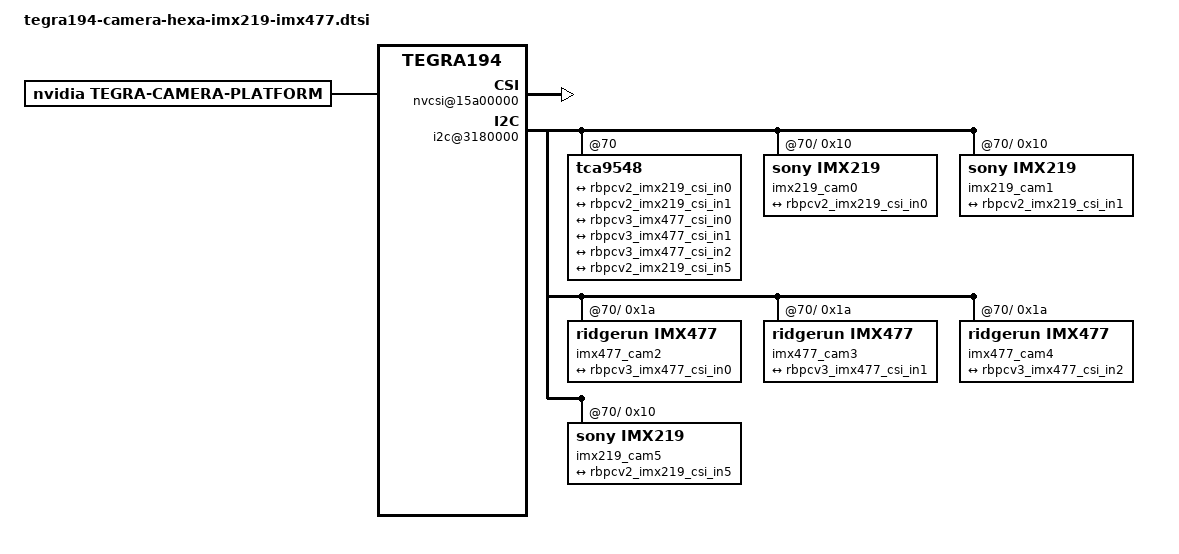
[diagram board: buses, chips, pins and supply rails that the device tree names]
/*
 * Copyright (c) 2015-2019, NVIDIA CORPORATION.  All rights reserved.
 *
 * This program is free software; you can redistribute it and/or modify
 * it under the terms of the GNU General Public License as published by
 * the Free Software Foundation; either version 2 of the License, or
 * (at your option) any later version.
 *
 * This program is distributed in the hope that it will be useful, but WITHOUT
 * ANY WARRANTY; without even the implied warranty of MERCHANTABILITY or
 * FITNESS FOR A PARTICULAR PURPOSE.  See the GNU General Public License for
 * more details.
 *
 * You should have received a copy of the GNU General Public License
 * along with this program.  If not, see <http://www.gnu.org/licenses/>.
 */

#include <dt-bindings/media/camera.h>

/ {
	tegra-capture-vi  {
			num-channels = <6>;
			ports {
				status="okay";
				#address-cells = <1>;
				#size-cells = <0>;
				vi_port0: port@0 {
					status="okay";
					reg = <0>;
					rbpcv2_imx219_vi_in0: endpoint {
						status="okay";
						port-index = <0>;
						bus-width = <2>;
						remote-endpoint = <&rbpcv2_imx219_csi_out0>;
					};
				};
				vi_port1: port@1 {
					status="okay";
					reg = <1>;
					rbpcv2_imx219_vi_in1: endpoint {
						status="okay";
						port-index = <2>;
						bus-width = <2>;
						remote-endpoint = <&rbpcv2_imx219_csi_out1>;
					};
				};
				vi_port2: port@2 {
					status="okay";
					reg = <2>;
					rbpcv3_imx477_vi_in0: endpoint {
						status="okay";
						port-index = <3>;
						bus-width = <2>;
						remote-endpoint = <&rbpcv3_imx477_csi_out0>;
					};
				};
				vi_port3: port@3 {
					status="okay";
					reg = <3>;
					rbpcv3_imx477_vi_in1: endpoint {
						status="okay";
						port-index = <4>;
						bus-width = <2>;
						remote-endpoint = <&rbpcv3_imx477_csi_out1>;
					};
				};
				vi_port4: port@4 {
					status="okay";
					reg = <4>;
					rbpcv3_imx477_vi_in2: endpoint {
						status="okay";
						port-index = <1>;
						bus-width = <2>;
						remote-endpoint = <&rbpcv3_imx477_csi_out2>;
					};
				};
				vi_port5: port@5 {
					status="okay";
					reg = <5>;
					rbpcv2_imx219_vi_in5: endpoint {
						status="okay";
						port-index = <6>;
						bus-width = <2>;
						remote-endpoint = <&rbpcv2_imx219_csi_out5>;
					};
				};				
			};
		};

	host1x@13e00000 {	
		nvcsi@15a00000 {
			num-channels = <6>;
			#address-cells = <1>;
			#size-cells = <0>;
			status="okay";
			csi_chan0: channel@0 {
				reg = <0>;
				status="okay";
				ports {
					#address-cells = <1>;
					#size-cells = <0>;
					status="okay";
					csi_chan0_port0: port@0 {
						reg = <0>;
						status="okay";
						rbpcv2_imx219_csi_in0: endpoint@0 {
							status="okay";
							port-index = <0>;
							bus-width = <2>;
							remote-endpoint = <&rbpcv2_imx219_out0>;
						};
					};
					csi_chan0_port1: port@1 {
						reg = <1>;
						status="okay";
						rbpcv2_imx219_csi_out0: endpoint@1 {
							status="okay";
							remote-endpoint = <&rbpcv2_imx219_vi_in0>;
						};
					};
				};
			};
			csi_chan1: channel@1 {
				reg = <1>;
				status="okay";
				ports {
					#address-cells = <1>;
					#size-cells = <0>;
					status="okay";
					csi_chan1_port0: port@0 {
						status="okay";
						reg = <0>;
						rbpcv2_imx219_csi_in1: endpoint@2 {
							status="okay";
							port-index = <2>;
							bus-width = <2>;
							remote-endpoint = <&rbpcv2_imx219_out1>;
						};
					};
					csi_chan1_port1: port@1 {
						reg = <1>;
						status="okay";
						rbpcv2_imx219_csi_out1: endpoint@3 {
							status="okay";
							remote-endpoint = <&rbpcv2_imx219_vi_in1>;
						};
					};
				};
			};
			csi_chan2: channel@2 {
				reg = <2>;
				status="okay";
				ports {
					#address-cells = <1>;
					#size-cells = <0>;
					status="okay";
					csi_chan2_port0: port@0 {
						status="okay";
						reg = <0>;
						rbpcv3_imx477_csi_in0: endpoint@4 {
							status="okay";
							port-index = <3>;
							bus-width = <2>;
							remote-endpoint = <&rbpcv3_imx477_out0>;
						};
					};
					csi_chan2_port1: port@1 {
						status="okay";
						reg = <1>;
						rbpcv3_imx477_csi_out0: endpoint@5 {
							status="okay";
							remote-endpoint = <&rbpcv3_imx477_vi_in0>;
						};
					};
				};
			};
			csi_chan3: channel@3 {
				reg = <3>;
				status="okay";
				ports {
					#address-cells = <1>;
					#size-cells = <0>;
					status="okay";
					csi_chan3_port0: port@0 {
						status="okay";
						reg = <0>;
						rbpcv3_imx477_csi_in1: endpoint@6 {
							status="okay";
							port-index = <4>;
							bus-width = <2>;
							remote-endpoint = <&rbpcv3_imx477_out1>;
						};
					};
					csi_chan3_port1: port@1 {
						status="okay";
						reg = <1>;
						rbpcv3_imx477_csi_out1: endpoint@7 {
							status="okay";
							remote-endpoint = <&rbpcv3_imx477_vi_in1>;
						};
					};
				};
			};
			csi_chan4: channel@4 {
				reg = <4>;
				status="okay";
				ports {
					#address-cells = <1>;
					#size-cells = <0>;
					status="okay";
					csi_chan4_port0: port@0 {
						status="okay";
						reg = <0>;
						rbpcv3_imx477_csi_in2: endpoint@8 {
							status="okay";
							port-index = <1>;
							bus-width = <2>;
							remote-endpoint = <&rbpcv3_imx477_out2>;
						};
					};
					csi_chan4_port1: port@1 {
						status="okay";
						reg = <1>;
						rbpcv3_imx477_csi_out2: endpoint@9 {
							status="okay";
							remote-endpoint = <&rbpcv3_imx477_vi_in2>;
						};
					};
				};
			};
			csi_chan5: channel@5 {
				reg = <5>;
				status="okay";
				ports {
					#address-cells = <1>;
					#size-cells = <0>;
					status="okay";
					csi_chan5_port0: port@0 {
						status="okay";
						reg = <0>;
						rbpcv2_imx219_csi_in5: endpoint@10 {
							status="okay";
							port-index = <6>;
							bus-width = <2>;
							remote-endpoint = <&rbpcv2_imx219_out5>;
						};
					};
					csi_chan5_port1: port@1 {
						status="okay";
						reg = <1>;
						rbpcv2_imx219_csi_out5: endpoint@11 {
							status="okay";
							remote-endpoint = <&rbpcv2_imx219_vi_in5>;
						};
					};
				};
			};
		};	
	};

	i2c@3180000{ 		
		tca9548@70 {			
			i2c_0: i2c@0 {				
				imx219_cam0: rbpcv2_imx219_a@10 {
					status="okay";
					compatible = "sony,imx219";
					/* I2C device address */ 
					reg = <0x10>;

					/* V4L2 device node location */
					devnode = "video0";

					/* Physical dimensions of sensor */
					physical_w = "3.680";
					physical_h = "2.760";

					sensor_model = "imx219";

					use_sensor_mode_id = "true";

					/**
					* ==== Modes ====
					* A modeX node is required to support v4l2 driver
					* implementation with NVIDIA camera software stack
					*
					* == Signal properties ==
					*
					* phy_mode = "";
					* PHY mode used by the MIPI lanes for this device
					*
					* tegra_sinterface = "";
					* CSI Serial interface connected to tegra
					* Incase of virtual HW devices, use virtual
					* For SW emulated devices, use host
					*
					* pix_clk_hz = "";
					* Sensor pixel clock used for calculations like exposure and framerate
					*
					* readout_orientation = "0";
					* Based on camera module orientation.
					* Only change readout_orientation if you specifically
					* Program a different readout order for this mode
					*
					* == Image format Properties ==
					*
					* active_w = "";
					* Pixel active region width
					*
					* active_h = "";
					* Pixel active region height
					*
					* pixel_t = "";
					* The sensor readout pixel pattern
					*
					* line_length = "";
					* Pixel line length (width) for sensor mode.
					*
					* == Source Control Settings ==
					*
					* Gain factor used to convert fixed point integer to float
					* Gain range [min_gain/gain_factor, max_gain/gain_factor]
					* Gain step [step_gain/gain_factor is the smallest step that can be configured]
					* Default gain [Default gain to be initialized for the control.
					*     use min_gain_val as default for optimal results]
					* Framerate factor used to convert fixed point integer to float
					* Framerate range [min_framerate/framerate_factor, max_framerate/framerate_factor]
					* Framerate step [step_framerate/framerate_factor is the smallest step that can be configured]
					* Default Framerate [Default framerate to be initialized for the control.
					*     use max_framerate to get required performance]
					* Exposure factor used to convert fixed point integer to float
					* For convenience use 1 sec = 1000000us as conversion factor
					* Exposure range [min_exp_time/exposure_factor, max_exp_time/exposure_factor]
					* Exposure step [step_exp_time/exposure_factor is the smallest step that can be configured]
					* Default Exposure Time [Default exposure to be initialized for the control.
					*     Set default exposure based on the default_framerate for optimal exposure settings]
					*
					* gain_factor = ""; (integer factor used for floating to fixed point conversion)
					* min_gain_val = ""; (ceil to integer)
					* max_gain_val = ""; (ceil to integer)
					* step_gain_val = ""; (ceil to integer)
					* default_gain = ""; (ceil to integer)
					* Gain limits for mode
					*
					* exposure_factor = ""; (integer factor used for floating to fixed point conversion)
					* min_exp_time = ""; (ceil to integer)
					* max_exp_time = ""; (ceil to integer)
					* step_exp_time = ""; (ceil to integer)
					* default_exp_time = ""; (ceil to integer)
					* Exposure Time limits for mode (sec)
					*
					* framerate_factor = ""; (integer factor used for floating to fixed point conversion)
					* min_framerate = ""; (ceil to integer)
					* max_framerate = ""; (ceil to integer)
					* step_framerate = ""; (ceil to integer)
					* default_framerate = ""; (ceil to integer)
					* Framerate limits for mode (fps)
					*
					* embedded_metadata_height = "";
					* Sensor embedded metadata height in units of rows.
					* If sensor does not support embedded metadata value should be 0.
					*/
					mode0 { /* IMX219_MODE_3264x2464_21FPS */
						mclk_khz = "24000";
						num_lanes = "2";
						tegra_sinterface = "serial_a";
						phy_mode = "DPHY";
						discontinuous_clk = "yes";
						dpcm_enable = "false";
						cil_settletime = "0";

						active_w = "3280";
						active_h = "2464";
						pixel_t = "bayer_rggb";
						csi_pixel_bit_depth = "10";
						readout_orientation = "90";
						line_length = "3448";
						inherent_gain = "1";
						mclk_multiplier = "9.33";
						pix_clk_hz = "300000000";

						gain_factor = "16";
						framerate_factor = "1000000";
						exposure_factor = "1000000";
						min_gain_val = "16"; /* 1.00x */
						max_gain_val = "170"; /* 10.66x */
						step_gain_val = "1";
						default_gain = "16"; /* 1.00x */
						min_hdr_ratio = "1";
						max_hdr_ratio = "1";
						min_framerate = "2000000"; /* 2.0 fps */
						max_framerate = "21000000"; /* 21.0 fps */
						step_framerate = "1";
						default_framerate = "21000000"; /* 21.0 fps */
						min_exp_time = "13"; /* us */
						max_exp_time = "683709"; /* us */
						step_exp_time = "1";
						default_exp_time = "2495"; /* us */

						embedded_metadata_height = "2";
					};
					mode1 { /* IMX219_MODE_3264x1848_28FPS */
						mclk_khz = "24000";
						num_lanes = "2";
						tegra_sinterface = "serial_a";
						phy_mode = "DPHY";
						discontinuous_clk = "yes";
						dpcm_enable = "false";
						cil_settletime = "0";

						active_w = "3280";
						active_h = "1848";
						pixel_t = "bayer_rggb";
						csi_pixel_bit_depth = "10";
						readout_orientation = "90";
						line_length = "3448";
						inherent_gain = "1";
						mclk_multiplier = "9.33";
						pix_clk_hz = "300000000";

						gain_factor = "16";
						framerate_factor = "1000000";
						exposure_factor = "1000000";
						min_gain_val = "16"; /* 1.00x */
						max_gain_val = "170"; /* 10.66x */
						step_gain_val = "1";
						default_gain = "16"; /* 1.00x */
						min_hdr_ratio = "1";
						max_hdr_ratio = "1";
						min_framerate = "2000000"; /* 2.0 fps */
						max_framerate = "28000000"; /* 28.0 fps */
						step_framerate = "1";
						default_framerate = "28000000"; /* 28.0 fps */
						min_exp_time = "13"; /* us */
						max_exp_time = "683709"; /* us */
						step_exp_time = "1";
						default_exp_time = "2495"; /* us */

						embedded_metadata_height = "2";
					};
					mode2 { /* IMX219_MODE_1920x1080_30FPS */
						mclk_khz = "24000";
						num_lanes = "2";
						tegra_sinterface = "serial_a";
						phy_mode = "DPHY";
						discontinuous_clk = "yes";
						dpcm_enable = "false";
						cil_settletime = "0";

						active_w = "1920";
						active_h = "1080";
						pixel_t = "bayer_rggb";
						csi_pixel_bit_depth = "10";
						readout_orientation = "90";
						line_length = "3448";
						inherent_gain = "1";
						mclk_multiplier = "9.33";
						pix_clk_hz = "300000000";

						gain_factor = "16";
						framerate_factor = "1000000";
						exposure_factor = "1000000";
						min_gain_val = "16"; /* 1.00x */
						max_gain_val = "170"; /* 10.66x */
						step_gain_val = "1";
						default_gain = "16"; /* 1.00x */
						min_hdr_ratio = "1";
						max_hdr_ratio = "1";
						min_framerate = "2000000"; /* 2.0 fps */
						max_framerate = "30000000"; /* 30.0 fps */
						step_framerate = "1";
						default_framerate = "30000000"; /* 30.0 fps */
						min_exp_time = "13"; /* us */
						max_exp_time = "683709"; /* us */
						step_exp_time = "1";
						default_exp_time = "2495"; /* us */

						embedded_metadata_height = "2";
					};
					mode3 { /* IMX219_MODE_1280x720_60FPS */
						mclk_khz = "24000";
						num_lanes = "2";
						tegra_sinterface = "serial_a";
						phy_mode = "DPHY";
						discontinuous_clk = "yes";
						dpcm_enable = "false";
						cil_settletime = "0";

						active_w = "1280";
						active_h = "720";
						pixel_t = "bayer_rggb";
						csi_pixel_bit_depth = "10";
						readout_orientation = "90";
						line_length = "3448";
						inherent_gain = "1";
						mclk_multiplier = "9.33";
						pix_clk_hz = "300000000";

						gain_factor = "16";
						framerate_factor = "1000000";
						exposure_factor = "1000000";
						min_gain_val = "16"; /* 1.00x */
						max_gain_val = "170"; /* 10.66x */
						step_gain_val = "1";
						default_gain = "16"; /* 1.00x */
						min_hdr_ratio = "1";
						max_hdr_ratio = "1";
						min_framerate = "2000000"; /* 2.0 fps */
						max_framerate = "60000000"; /* 60.0 fps */
						step_framerate = "1";
						default_framerate = "60000000"; /* 60.0 fps */
						min_exp_time = "13"; /* us */
						max_exp_time = "683709"; /* us */
						step_exp_time = "1";
						default_exp_time = "2495"; /* us */

						embedded_metadata_height = "2";
					};
					mode4 { /* IMX219_MODE_1280x720_120FPS */
						mclk_khz = "24000";
						num_lanes = "2";
						tegra_sinterface = "serial_a";
						phy_mode = "DPHY";
						discontinuous_clk = "yes";
						dpcm_enable = "false";
						cil_settletime = "0";

						active_w = "1280";
						active_h = "720";
						pixel_t = "bayer_rggb";
						csi_pixel_bit_depth = "10";
						readout_orientation = "90";
						line_length = "3448";
						inherent_gain = "1";
						mclk_multiplier = "9.33";
						pix_clk_hz = "300000000";

						gain_factor = "16";
						framerate_factor = "1000000";
						exposure_factor = "1000000";
						min_gain_val = "16"; /* 1.00x */
						max_gain_val = "170"; /* 10.66x */
						step_gain_val = "1";
						default_gain = "16"; /* 1.00x */
						min_hdr_ratio = "1";
						max_hdr_ratio = "1";
						min_framerate = "2000000"; /* 2.0 fps */
						max_framerate = "120000000"; /* 120.0 fps */
						step_framerate = "1";
						default_framerate = "120000000"; /* 120.0 fps */
						min_exp_time = "13"; /* us */
						max_exp_time = "683709"; /* us */
						step_exp_time = "1";
						default_exp_time = "2495"; /* us */

						embedded_metadata_height = "2";
					};

					ports {
						#address-cells = <1>;
						#size-cells = <0>;
						status="okay";

						port@0 {
							reg = <0>;
							status="okay";
							rbpcv2_imx219_out0: endpoint {
								status="okay";
								port-index = <0>;
								bus-width = <2>;
								remote-endpoint = <&rbpcv2_imx219_csi_in0>;
							};
						};
					};
				};
			};
			i2c_1: i2c@1 {				
				imx219_cam1: rbpcv2_imx219_c@10 {
					status="okay";
					compatible = "sony,imx219";
					/* I2C device address */
					reg = <0x10>;

					/* V4L2 device node location */
					devnode = "video1";

					/* Physical dimensions of sensor */
					physical_w = "3.680";
					physical_h = "2.760";

					sensor_model = "imx219";

					use_sensor_mode_id = "true";


					mode0 { /* IMX219_MODE_3264x2464_21FPS */
						mclk_khz = "24000";
						num_lanes = "2";
						tegra_sinterface = "serial_c";
						phy_mode = "DPHY";
						discontinuous_clk = "yes";
						dpcm_enable = "false";
						cil_settletime = "0";

						active_w = "3264";
						active_h = "2464";
						pixel_t = "bayer_rggb";
						csi_pixel_bit_depth = "10";
						readout_orientation = "90";
						line_length = "3448";
						inherent_gain = "1";
						mclk_multiplier = "9.33";
						pix_clk_hz = "182400000";

						gain_factor = "16";
						framerate_factor = "1000000";
						exposure_factor = "1000000";
						min_gain_val = "16"; /* 1.00x */
						max_gain_val = "170"; /* 10.66x */
						step_gain_val = "1";
						default_gain = "16"; /* 1.00x */
						min_hdr_ratio = "1";
						max_hdr_ratio = "1";
						min_framerate = "2000000"; /* 2.0 fps */
						max_framerate = "21000000"; /* 21.0 fps */
						step_framerate = "1";
						default_framerate = "21000000"; /* 21.0 fps */
						min_exp_time = "13"; /* us */
						max_exp_time = "683709"; /* us */
						step_exp_time = "1";
						default_exp_time = "2495"; /* us */

						embedded_metadata_height = "2";
					};
					mode1 { /* IMX219_MODE_3264x1848_28FPS */
						mclk_khz = "24000";
						num_lanes = "2";
						tegra_sinterface = "serial_c";
						phy_mode = "DPHY";
						discontinuous_clk = "yes";
						dpcm_enable = "false";
						cil_settletime = "0";

						active_w = "3264";
						active_h = "1848";
						pixel_t = "bayer_rggb";
						csi_pixel_bit_depth = "10";
						readout_orientation = "90";
						line_length = "3448";
						inherent_gain = "1";
						mclk_multiplier = "9.33";
						pix_clk_hz = "182400000";

						gain_factor = "16";
						framerate_factor = "1000000";
						exposure_factor = "1000000";
						min_gain_val = "16"; /* 1.00x */
						max_gain_val = "170"; /* 10.66x */
						step_gain_val = "1";
						default_gain = "16"; /* 1.00x */
						min_hdr_ratio = "1";
						max_hdr_ratio = "1";
						min_framerate = "2000000"; /* 2.0 fps */
						max_framerate = "28000000"; /* 28.0 fps */
						step_framerate = "1";
						default_framerate = "28000000"; /* 28.0 fps */
						min_exp_time = "13"; /* us */
						max_exp_time = "683709"; /* us */
						step_exp_time = "1";
						default_exp_time = "2495"; /* us */

						embedded_metadata_height = "2";
					};
					mode2 { /* IMX219_MODE_1920x1080_30FPS */
						mclk_khz = "24000";
						num_lanes = "2";
						tegra_sinterface = "serial_c";
						phy_mode = "DPHY";
						discontinuous_clk = "yes";
						dpcm_enable = "false";
						cil_settletime = "0";

						active_w = "1920";
						active_h = "1080";
						pixel_t = "bayer_rggb";
						csi_pixel_bit_depth = "10";
						readout_orientation = "90";
						line_length = "3448";
						inherent_gain = "1";
						mclk_multiplier = "9.33";
						pix_clk_hz = "182400000";

						gain_factor = "16";
						framerate_factor = "1000000";
						exposure_factor = "1000000";
						min_gain_val = "16"; /* 1.00x */
						max_gain_val = "170"; /* 10.66x */
						step_gain_val = "1";
						default_gain = "16"; /* 1.00x */
						min_hdr_ratio = "1";
						max_hdr_ratio = "1";
						min_framerate = "2000000"; /* 2.0 fps */
						max_framerate = "30000000"; /* 30.0 fps */
						step_framerate = "1";
						default_framerate = "30000000"; /* 30.0 fps */
						min_exp_time = "13"; /* us */
						max_exp_time = "683709"; /* us */
						step_exp_time = "1";
						default_exp_time = "2495"; /* us */

						embedded_metadata_height = "2";
					};
					mode3 { /* IMX219_MODE_1280x720_60FPS */
						mclk_khz = "24000";
						num_lanes = "2";
						tegra_sinterface = "serial_c";
						phy_mode = "DPHY";
						discontinuous_clk = "yes";
						dpcm_enable = "false";
						cil_settletime = "0";

						active_w = "1280";
						active_h = "720";
						pixel_t = "bayer_rggb";						
						csi_pixel_bit_depth = "10";
						readout_orientation = "90";
						line_length = "3448";
						inherent_gain = "1";
						mclk_multiplier = "9.33";
						pix_clk_hz = "182400000";

						gain_factor = "16";
						framerate_factor = "1000000";
						exposure_factor = "1000000";
						min_gain_val = "16"; /* 1.00x */
						max_gain_val = "170"; /* 10.66x */
						step_gain_val = "1";
						default_gain = "16"; /* 1.00x */
						min_hdr_ratio = "1";
						max_hdr_ratio = "1";
						min_framerate = "2000000"; /* 2.0 fps */
						max_framerate = "60000000"; /* 60.0 fps */
						step_framerate = "1";
						default_framerate = "60000000"; /* 60.0 fps */
						min_exp_time = "13"; /* us */
						max_exp_time = "683709"; /* us */
						step_exp_time = "1";
						default_exp_time = "2495"; /* us */

						embedded_metadata_height = "2";
					};
					mode4 { /* IMX219_MODE_1280x720_120FPS */
						mclk_khz = "24000";
						num_lanes = "2";
						tegra_sinterface = "serial_c";
						phy_mode = "DPHY";
						discontinuous_clk = "yes";
						dpcm_enable = "false";
						cil_settletime = "0";

						active_w = "1280";
						active_h = "720";
						pixel_t = "bayer_rggb";
						csi_pixel_bit_depth = "10";
						readout_orientation = "90";
						line_length = "3448";
						inherent_gain = "1";
						mclk_multiplier = "9.33";
						pix_clk_hz = "169600000";

						gain_factor = "16";
						framerate_factor = "1000000";
						exposure_factor = "1000000";
						min_gain_val = "16"; /* 1.00x */
						max_gain_val = "170"; /* 10.66x */
						step_gain_val = "1";
						default_gain = "16"; /* 1.00x */
						min_hdr_ratio = "1";
						max_hdr_ratio = "1";
						min_framerate = "2000000"; /* 2.0 fps */
						max_framerate = "120000000"; /* 120.0 fps */
						step_framerate = "1";
						default_framerate = "120000000"; /* 120.0 fps */
						min_exp_time = "13"; /* us */
						max_exp_time = "683709"; /* us */
						step_exp_time = "1";
						default_exp_time = "2495"; /* us */

						embedded_metadata_height = "2";
					};

					ports {
						#address-cells = <1>;
						#size-cells = <0>;
						status="okay";

						port@0 {
							reg = <0>;
							status="okay";
							rbpcv2_imx219_out1: endpoint {
								status="okay";
								port-index = <2>;
								bus-width = <2>;
								remote-endpoint = <&rbpcv2_imx219_csi_in1>;
							};
						};
					};
				};
			};
			i2c_2: i2c@2 {				
				imx477_cam2: rbpcv3_imx477_d@1a {
					status="okay";
					compatible = "ridgerun,imx477";
					/* I2C device address */
					reg = <0x1a>;

					/* V4L2 device node location */
					devnode = "video2";

					/* Physical dimensions of sensor */
					physical_w = "7.564";
					physical_h = "5.476";

					sensor_model = "imx477";

					use_sensor_mode_id = "true";

					mode0 { /* IMX477_MODE_3840X2160 */
						mclk_khz = "24000";
						num_lanes = "2";
						tegra_sinterface = "serial_d";
						phy_mode = "DPHY";
						discontinuous_clk = "no";
						dpcm_enable = "false";
						cil_settletime = "0";

						active_w = "3840";
						active_h = "2160";
						mode_type = "bayer";
						pixel_phase = "rggb";
						csi_pixel_bit_depth = "10";
						readout_orientation = "90";
						line_length = "9024";
						inherent_gain = "1";
						mclk_multiplier = "80";
						pix_clk_hz = "300000000";

						gain_factor = "16";
						framerate_factor = "1000000";
						exposure_factor = "1000000";
						min_gain_val = "16"; /* 1.00x */
						max_gain_val = "356"; /* 22x */
						step_gain_val = "1";
						default_gain = "16"; /* 1.00x */
						min_hdr_ratio = "1";
						max_hdr_ratio = "1";
						min_framerate = "2000000"; /* 2.0 fps */
						max_framerate = "30000000"; /* 30.0 fps */
						step_framerate = "1";
						default_framerate = "30000000"; /* 30.0 fps */
						min_exp_time = "13"; /* us */
						max_exp_time = "683709"; /* us */
						step_exp_time = "1";
						default_exp_time = "2495"; /* us */

						embedded_metadata_height = "2";
					};
					mode1 { /* IMX477_MODE_1920X1080 */
						mclk_khz = "24000";
						num_lanes = "2";
						tegra_sinterface = "serial_d";
						phy_mode = "DPHY";
						discontinuous_clk = "no";
						dpcm_enable = "false";
						cil_settletime = "0";

						active_w = "1920";
						active_h = "1080";
						mode_type = "bayer";
						pixel_phase = "rggb";
						csi_pixel_bit_depth = "10";
						readout_orientation = "90";
						line_length = "9024";
						inherent_gain = "1";
						mclk_multiplier = "80";
						pix_clk_hz = "300000000";

						gain_factor = "16";
						framerate_factor = "1000000";
						exposure_factor = "1000000";
						min_gain_val = "16"; /* 1.00x */
						max_gain_val = "356"; /* 22x */
						step_gain_val = "1";
						default_gain = "16"; /* 1.00x */
						min_hdr_ratio = "1";
						max_hdr_ratio = "1";
						min_framerate = "2000000"; /* 2.0 fps */
						max_framerate = "60000000"; /* 60.0 fps */
						step_framerate = "1";
						default_framerate = "60000000"; /* 60.0 fps */
						min_exp_time = "13"; /* us */
						max_exp_time = "683709"; /* us */
						step_exp_time = "1";
						default_exp_time = "2495"; /* us */

						embedded_metadata_height = "2";
					};

					ports {
						status="okay";
						#address-cells = <1>;
						#size-cells = <0>;
						port@0 {
							status="okay";
							reg = <0>;
							rbpcv3_imx477_out0: endpoint {
								status="okay";
								port-index = <3>;
								bus-width = <2>;
								remote-endpoint = <&rbpcv3_imx477_csi_in0>;
							};
						};
					};
				};
			};
			i2c_3: i2c@3 {				
				imx477_cam3: rbpcv3_imx477_e@1a {
					status="okay";
					compatible = "ridgerun,imx477";
					/* I2C device address */
					reg = <0x1a>;

					/* V4L2 device node location */
					devnode = "video3";

					/* Physical dimensions of sensor */
					physical_w = "7.564";
					physical_h = "5.476";

					sensor_model = "imx477";

					use_sensor_mode_id = "true";

					mode0 { /* IMX477_MODE_3840X2160 */
						mclk_khz = "24000";
						num_lanes = "2";
						tegra_sinterface = "serial_e";
						phy_mode = "DPHY";
						discontinuous_clk = "no";
						dpcm_enable = "false";
						cil_settletime = "0";

						active_w = "3840";
						active_h = "2160";
						mode_type = "bayer";
						pixel_phase = "rggb";
						csi_pixel_bit_depth = "10";
						readout_orientation = "90";
						line_length = "9024";
						inherent_gain = "1";
						mclk_multiplier = "80";
						pix_clk_hz = "300000000";

						gain_factor = "16";
						framerate_factor = "1000000";
						exposure_factor = "1000000";
						min_gain_val = "16"; /* 1.00x */
						max_gain_val = "356"; /* 22x */
						step_gain_val = "1";
						default_gain = "16"; /* 1.00x */
						min_hdr_ratio = "1";
						max_hdr_ratio = "1";
						min_framerate = "2000000"; /* 2.0 fps */
						max_framerate = "30000000"; /* 30.0 fps */
						step_framerate = "1";
						default_framerate = "30000000"; /* 30.0 fps */
						min_exp_time = "13"; /* us */
						max_exp_time = "683709"; /* us */
						step_exp_time = "1";
						default_exp_time = "2495"; /* us */

						embedded_metadata_height = "2";
					};
					mode1 { /* IMX477_MODE_1920X1080 */
						mclk_khz = "24000";
						num_lanes = "2";
						tegra_sinterface = "serial_e";
						phy_mode = "DPHY";
						discontinuous_clk = "no";
						dpcm_enable = "false";
						cil_settletime = "0";

						active_w = "1920";
						active_h = "1080";
						mode_type = "bayer";
						pixel_phase = "rggb";
						csi_pixel_bit_depth = "10";
						readout_orientation = "90";
						line_length = "9024";
						inherent_gain = "1";
						mclk_multiplier = "80";
						pix_clk_hz = "300000000";

						gain_factor = "16";
						framerate_factor = "1000000";
						exposure_factor = "1000000";
						min_gain_val = "16"; /* 1.00x */
						max_gain_val = "356"; /* 22x */
						step_gain_val = "1";
						default_gain = "16"; /* 1.00x */
						min_hdr_ratio = "1";
						max_hdr_ratio = "1";
						min_framerate = "2000000"; /* 2.0 fps */
						max_framerate = "60000000"; /* 60.0 fps */
						step_framerate = "1";
						default_framerate = "60000000"; /* 60.0 fps */
						min_exp_time = "13"; /* us */
						max_exp_time = "683709"; /* us */
						step_exp_time = "1";
						default_exp_time = "2495"; /* us */

						embedded_metadata_height = "2";
					};

					ports {
						status="okay";
						#address-cells = <1>;
						#size-cells = <0>;
						port@0 {
							status="okay";
							reg = <0>;
							rbpcv3_imx477_out1: endpoint {
								status="okay";
								port-index = <4>;
								bus-width = <2>;
								remote-endpoint = <&rbpcv3_imx477_csi_in1>;
							};
						};
					};
				};
			};
			i2c_4: i2c@4 {				
				imx477_cam4: rbpcv3_imx477_b@1a {
					status="okay";
					compatible = "ridgerun,imx477";
					/* I2C device address */
					reg = <0x1a>;

					/* V4L2 device node location */
					devnode = "video4";

					/* Physical dimensions of sensor */
					physical_w = "7.564";
					physical_h = "5.476";

					sensor_model = "imx477";

					use_sensor_mode_id = "true";

					mode0 { /* IMX477_MODE_3840X2160 */
						mclk_khz = "24000";
						num_lanes = "2";
						tegra_sinterface = "serial_b";
						phy_mode = "DPHY";
						discontinuous_clk = "no";
						dpcm_enable = "false";
						cil_settletime = "0";

						active_w = "3840";
						active_h = "2160";
						mode_type = "bayer";
						pixel_phase = "rggb";
						csi_pixel_bit_depth = "10";
						readout_orientation = "90";
						line_length = "9024";
						inherent_gain = "1";
						mclk_multiplier = "80";
						pix_clk_hz = "300000000";

						gain_factor = "16";
						framerate_factor = "1000000";
						exposure_factor = "1000000";
						min_gain_val = "16"; /* 1.00x */
						max_gain_val = "356"; /* 22x */
						step_gain_val = "1";
						default_gain = "16"; /* 1.00x */
						min_hdr_ratio = "1";
						max_hdr_ratio = "1";
						min_framerate = "2000000"; /* 2.0 fps */
						max_framerate = "30000000"; /* 30.0 fps */
						step_framerate = "1";
						default_framerate = "30000000"; /* 30.0 fps */
						min_exp_time = "13"; /* us */
						max_exp_time = "683709"; /* us */
						step_exp_time = "1";
						default_exp_time = "2495"; /* us */

						embedded_metadata_height = "2";
					};
					mode1 { /* IMX477_MODE_1920X1080 */
						mclk_khz = "24000";
						num_lanes = "2";
						tegra_sinterface = "serial_b";
						phy_mode = "DPHY";
						discontinuous_clk = "no";
						dpcm_enable = "false";
						cil_settletime = "0";

						active_w = "1920";
						active_h = "1080";
						mode_type = "bayer";
						pixel_phase = "rggb";
						csi_pixel_bit_depth = "10";
						readout_orientation = "90";
						line_length = "9024";
						inherent_gain = "1";
						mclk_multiplier = "80";
						pix_clk_hz = "300000000";

						gain_factor = "16";
						framerate_factor = "1000000";
						exposure_factor = "1000000";
						min_gain_val = "16"; /* 1.00x */
						max_gain_val = "356"; /* 22x */
						step_gain_val = "1";
						default_gain = "16"; /* 1.00x */
						min_hdr_ratio = "1";
						max_hdr_ratio = "1";
						min_framerate = "2000000"; /* 2.0 fps */
						max_framerate = "60000000"; /* 60.0 fps */
						step_framerate = "1";
						default_framerate = "60000000"; /* 60.0 fps */
						min_exp_time = "13"; /* us */
						max_exp_time = "683709"; /* us */
						step_exp_time = "1";
						default_exp_time = "2495"; /* us */

						embedded_metadata_height = "2";
					};

					ports {
						status="okay";
						#address-cells = <1>;
						#size-cells = <0>;
						port@0 {
							status="okay";
							reg = <0>;
							rbpcv3_imx477_out2: endpoint {
								status="okay";
								port-index = <1>;
								bus-width = <2>;
								remote-endpoint = <&rbpcv3_imx477_csi_in2>;
							};
						};
					};
				};
			};
			i2c_5: i2c@5 {				
				imx219_cam5: rbpcv2_imx219_g@10 {
					status="okay";
					compatible = "sony,imx219";
					/* I2C device address */ 
					reg = <0x10>;

					/* V4L2 device node location */
					devnode = "video5";

					/* Physical dimensions of sensor */
					physical_w = "3.680";
					physical_h = "2.760";

					sensor_model = "imx219";

					use_sensor_mode_id = "true";

					/**
					* ==== Modes ====
					* A modeX node is required to support v4l2 driver
					* implementation with NVIDIA camera software stack
					*
					* == Signal properties ==
					*
					* phy_mode = "";
					* PHY mode used by the MIPI lanes for this device
					*
					* tegra_sinterface = "";
					* CSI Serial interface connected to tegra
					* Incase of virtual HW devices, use virtual
					* For SW emulated devices, use host
					*
					* pix_clk_hz = "";
					* Sensor pixel clock used for calculations like exposure and framerate
					*
					* readout_orientation = "0";
					* Based on camera module orientation.
					* Only change readout_orientation if you specifically
					* Program a different readout order for this mode
					*
					* == Image format Properties ==
					*
					* active_w = "";
					* Pixel active region width
					*
					* active_h = "";
					* Pixel active region height
					*
					* pixel_t = "";
					* The sensor readout pixel pattern
					*
					* line_length = "";
					* Pixel line length (width) for sensor mode.
					*
					* == Source Control Settings ==
					*
					* Gain factor used to convert fixed point integer to float
					* Gain range [min_gain/gain_factor, max_gain/gain_factor]
					* Gain step [step_gain/gain_factor is the smallest step that can be configured]
					* Default gain [Default gain to be initialized for the control.
					*     use min_gain_val as default for optimal results]
					* Framerate factor used to convert fixed point integer to float
					* Framerate range [min_framerate/framerate_factor, max_framerate/framerate_factor]
					* Framerate step [step_framerate/framerate_factor is the smallest step that can be configured]
					* Default Framerate [Default framerate to be initialized for the control.
					*     use max_framerate to get required performance]
					* Exposure factor used to convert fixed point integer to float
					* For convenience use 1 sec = 1000000us as conversion factor
					* Exposure range [min_exp_time/exposure_factor, max_exp_time/exposure_factor]
					* Exposure step [step_exp_time/exposure_factor is the smallest step that can be configured]
					* Default Exposure Time [Default exposure to be initialized for the control.
					*     Set default exposure based on the default_framerate for optimal exposure settings]
					*
					* gain_factor = ""; (integer factor used for floating to fixed point conversion)
					* min_gain_val = ""; (ceil to integer)
					* max_gain_val = ""; (ceil to integer)
					* step_gain_val = ""; (ceil to integer)
					* default_gain = ""; (ceil to integer)
					* Gain limits for mode
					*
					* exposure_factor = ""; (integer factor used for floating to fixed point conversion)
					* min_exp_time = ""; (ceil to integer)
					* max_exp_time = ""; (ceil to integer)
					* step_exp_time = ""; (ceil to integer)
					* default_exp_time = ""; (ceil to integer)
					* Exposure Time limits for mode (sec)
					*
					* framerate_factor = ""; (integer factor used for floating to fixed point conversion)
					* min_framerate = ""; (ceil to integer)
					* max_framerate = ""; (ceil to integer)
					* step_framerate = ""; (ceil to integer)
					* default_framerate = ""; (ceil to integer)
					* Framerate limits for mode (fps)
					*
					* embedded_metadata_height = "";
					* Sensor embedded metadata height in units of rows.
					* If sensor does not support embedded metadata value should be 0.
					*/
					mode0 { /* IMX219_MODE_3264x2464_21FPS */
						mclk_khz = "24000";
						num_lanes = "2";
						tegra_sinterface = "serial_g";
						phy_mode = "DPHY";
						discontinuous_clk = "yes";
						dpcm_enable = "false";
						cil_settletime = "0";

						active_w = "3264";
						active_h = "2464";
						pixel_t = "bayer_rggb";
						csi_pixel_bit_depth = "10";
						readout_orientation = "90";
						line_length = "3448";
						inherent_gain = "1";
						mclk_multiplier = "9.33";
						pix_clk_hz = "182400000";

						gain_factor = "16";
						framerate_factor = "1000000";
						exposure_factor = "1000000";
						min_gain_val = "16"; /* 1.00x */
						max_gain_val = "170"; /* 10.66x */
						step_gain_val = "1";
						default_gain = "16"; /* 1.00x */
						min_hdr_ratio = "1";
						max_hdr_ratio = "1";
						min_framerate = "2000000"; /* 2.0 fps */
						max_framerate = "21000000"; /* 21.0 fps */
						step_framerate = "1";
						default_framerate = "21000000"; /* 21.0 fps */
						min_exp_time = "13"; /* us */
						max_exp_time = "683709"; /* us */
						step_exp_time = "1";
						default_exp_time = "2495"; /* us */

						embedded_metadata_height = "2";
					};
					mode1 { /* IMX219_MODE_3264x1848_28FPS */
						mclk_khz = "24000";
						num_lanes = "2";
						tegra_sinterface = "serial_g";
						phy_mode = "DPHY";
						discontinuous_clk = "yes";
						dpcm_enable = "false";
						cil_settletime = "0";

						active_w = "3264";
						active_h = "1848";
						pixel_t = "bayer_rggb";
						csi_pixel_bit_depth = "10";
						readout_orientation = "90";
						line_length = "3448";
						inherent_gain = "1";
						mclk_multiplier = "9.33";
						pix_clk_hz = "182400000";

						gain_factor = "16";
						framerate_factor = "1000000";
						exposure_factor = "1000000";
						min_gain_val = "16"; /* 1.00x */
						max_gain_val = "170"; /* 10.66x */
						step_gain_val = "1";
						default_gain = "16"; /* 1.00x */
						min_hdr_ratio = "1";
						max_hdr_ratio = "1";
						min_framerate = "2000000"; /* 2.0 fps */
						max_framerate = "28000000"; /* 28.0 fps */
						step_framerate = "1";
						default_framerate = "28000000"; /* 28.0 fps */
						min_exp_time = "13"; /* us */
						max_exp_time = "683709"; /* us */
						step_exp_time = "1";
						default_exp_time = "2495"; /* us */

						embedded_metadata_height = "2";
					};
					mode2 { /* IMX219_MODE_1920x1080_30FPS */
						mclk_khz = "24000";
						num_lanes = "2";
						tegra_sinterface = "serial_g";
						phy_mode = "DPHY";
						discontinuous_clk = "yes";
						dpcm_enable = "false";
						cil_settletime = "0";

						active_w = "1920";
						active_h = "1080";
						pixel_t = "bayer_rggb";
						csi_pixel_bit_depth = "10";
						readout_orientation = "90";
						line_length = "3448";
						inherent_gain = "1";
						mclk_multiplier = "9.33";
						pix_clk_hz = "182400000";

						gain_factor = "16";
						framerate_factor = "1000000";
						exposure_factor = "1000000";
						min_gain_val = "16"; /* 1.00x */
						max_gain_val = "170"; /* 10.66x */
						step_gain_val = "1";
						default_gain = "16"; /* 1.00x */
						min_hdr_ratio = "1";
						max_hdr_ratio = "1";
						min_framerate = "2000000"; /* 2.0 fps */
						max_framerate = "30000000"; /* 30.0 fps */
						step_framerate = "1";
						default_framerate = "30000000"; /* 30.0 fps */
						min_exp_time = "13"; /* us */
						max_exp_time = "683709"; /* us */
						step_exp_time = "1";
						default_exp_time = "2495"; /* us */

						embedded_metadata_height = "2";
					};
					mode3 { /* IMX219_MODE_1280x720_60FPS */
						mclk_khz = "24000";
						num_lanes = "2";
						tegra_sinterface = "serial_g";
						phy_mode = "DPHY";
						discontinuous_clk = "yes";
						dpcm_enable = "false";
						cil_settletime = "0";

						active_w = "1280";
						active_h = "720";
						pixel_t = "bayer_rggb";
						csi_pixel_bit_depth = "10";
						readout_orientation = "90";
						line_length = "3448";
						inherent_gain = "1";
						mclk_multiplier = "9.33";
						pix_clk_hz = "182400000";

						gain_factor = "16";
						framerate_factor = "1000000";
						exposure_factor = "1000000";
						min_gain_val = "16"; /* 1.00x */
						max_gain_val = "170"; /* 10.66x */
						step_gain_val = "1";
						default_gain = "16"; /* 1.00x */
						min_hdr_ratio = "1";
						max_hdr_ratio = "1";
						min_framerate = "2000000"; /* 2.0 fps */
						max_framerate = "60000000"; /* 60.0 fps */
						step_framerate = "1";
						default_framerate = "60000000"; /* 60.0 fps */
						min_exp_time = "13"; /* us */
						max_exp_time = "683709"; /* us */
						step_exp_time = "1";
						default_exp_time = "2495"; /* us */

						embedded_metadata_height = "2";
					};
					mode4 { /* IMX219_MODE_1280x720_120FPS */
						mclk_khz = "24000";
						num_lanes = "2";
						tegra_sinterface = "serial_g";
						phy_mode = "DPHY";
						discontinuous_clk = "yes";
						dpcm_enable = "false";
						cil_settletime = "0";

						active_w = "1280";
						active_h = "720";
						pixel_t = "bayer_rggb";
						csi_pixel_bit_depth = "10";
						readout_orientation = "90";
						line_length = "3448";
						inherent_gain = "1";
						mclk_multiplier = "9.33";
						pix_clk_hz = "169600000";

						gain_factor = "16";
						framerate_factor = "1000000";
						exposure_factor = "1000000";
						min_gain_val = "16"; /* 1.00x */
						max_gain_val = "170"; /* 10.66x */
						step_gain_val = "1";
						default_gain = "16"; /* 1.00x */
						min_hdr_ratio = "1";
						max_hdr_ratio = "1";
						min_framerate = "2000000"; /* 2.0 fps */
						max_framerate = "120000000"; /* 120.0 fps */
						step_framerate = "1";
						default_framerate = "120000000"; /* 120.0 fps */
						min_exp_time = "13"; /* us */
						max_exp_time = "683709"; /* us */
						step_exp_time = "1";
						default_exp_time = "2495"; /* us */

						embedded_metadata_height = "2";
					};

					ports {
						#address-cells = <1>;
						#size-cells = <0>;
						status="okay";

						port@0 {
							reg = <0>;
							status="okay";
							rbpcv2_imx219_out5: endpoint {
								status="okay";
								port-index = <6>;
								bus-width = <2>;
								remote-endpoint = <&rbpcv2_imx219_csi_in5>;
							};
						};
					};
				};
			};
		};		
	};		
	

	lens_imx219@RBPCV2 {
		status="okay";
		min_focus_distance = "0.0";
		hyper_focal = "0.0";
		focal_length = "3.04";
		f_number = "2.0";
		aperture = "0.0";
	};

};

/ {
	tegra-camera-platform {
		compatible = "nvidia, tegra-camera-platform";	
		/**
		* Physical settings to calculate max ISO BW
		*
		* num_csi_lanes = <>;
		* Total number of CSI lanes when all cameras are active
		*
		* max_lane_speed = <>;
		* Max lane speed in Kbit/s
		*
		* min_bits_per_pixel = <>;
		* Min bits per pixel
		*
		* vi_peak_byte_per_pixel = <>;
		* Max byte per pixel for the VI ISO case
		*
		* vi_bw_margin_pct = <>;
		* Vi bandwidth margin in percentage
		*
		* max_pixel_rate = <>;
		* Max pixel rate in Kpixel/s for the ISP ISO case
		* Set this to the highest pix_clk_hz out of all available modes.
		*
		* isp_peak_byte_per_pixel = <>;
		* Max byte per pixel for the ISP ISO case
		*
		* isp_bw_margin_pct = <>;
		* Isp bandwidth margin in percentage
		*/
		num_csi_lanes = <12>;
		max_lane_speed = <1500000>;
		min_bits_per_pixel = <10>;
		vi_peak_byte_per_pixel = <2>;
		vi_bw_margin_pct = <25>;
		max_pixel_rate = <750000>;
		isp_peak_byte_per_pixel = <5>;
		isp_bw_margin_pct = <25>;

		/**
		* The general guideline for naming badge_info contains 3 parts, and is as follows,
		* The first part is the camera_board_id for the module; if the module is in a FFD
		* platform, then use the platform name for this part.
		* The second part contains the position of the module, ex. “rear” or “front”.
		* The third part contains the last 6 characters of a part number which is found
		* in the module's specsheet from the vender.
		*/
		modules { 
			status="okay";
			cam_module0: module0 {
				badge = "jakku_bottomright_RBP194";
				position = "bottomright";
				orientation = "1";
				status="okay";
				cam_module0_drivernode0: drivernode0 {
					status="okay";
					pcl_id = "v4l2_sensor";
					devname = "imx219 30-0010";
					proc-device-tree = "/proc/device-tree/i2c@3180000/tca9548@70/i2c@0/rbpcv2_imx219_a@10"; 
				};
				cam_module0_drivernode1: drivernode1 {
 					status="okay";
					pcl_id = "v4l2_lens";
					proc-device-tree = "/proc/device-tree/lens_imx219@RBPCV2/";
				};
			};
			cam_module1: module1 {
				badge = "jakku_centerright_RBP194";
				position = "centerright";
				orientation = "1";
				status="okay";
				cam_module1_drivernode0: drivernode0 {
					status="okay";
					pcl_id = "v4l2_sensor";
					devname = "imx219 31-0010";
					proc-device-tree = "/proc/device-tree/i2c@3180000/tca9548@70/i2c@1/rbpcv2_imx219_c@10";
				};
				cam_module1_drivernode1: drivernode1 {
					status="okay";
					pcl_id = "v4l2_lens";
					proc-device-tree = "/proc/device-tree/lens_imx219@RBPCV2/";
				};
			};
			cam_module2: module2 {
				badge = "jakku_bottomleft_RBP194";
				position = "bottomleft";
				orientation = "1";
				status="okay";
				cam_module2_drivernode0: drivernode0 {
					status="okay";
					pcl_id = "v4l2_sensor";
					devname = "imx477 32-001a";
					proc-device-tree = "/proc/device-tree/i2c@3180000/tca9548@70/i2c@2/rbpcv3_imx477_d@1a";
				};
			};
			cam_module3: module3 {
				badge = "jakku_centerleft_RBP194";
				position = "centerleft";
				orientation = "1";
				status="okay";
				cam_module3_drivernode0: drivernode0 {
					status="okay";
					pcl_id = "v4l2_sensor";
					devname = "imx477 33-001a";
					proc-device-tree = "/proc/device-tree/i2c@3180000/tca9548@70/i2c@3/rbpcv3_imx477_e@1a";
				};
			};
			cam_module4: module4 {
				badge = "jakku_topright_RBP194";
				position = "topright";
				orientation = "1";
				status="okay";
				cam_module4_drivernode0: drivernode0 {
					status="okay";
					pcl_id = "v4l2_sensor";
					devname = "imx477 34-001a";
					proc-device-tree = "/proc/device-tree/i2c@3180000/tca9548@70/i2c@4/rbpcv3_imx477_b@1a";
				};	
			};
			cam_module5: module5 {
				badge = "jakku_topleft_RBP194";
				position = "topleft";
				orientation = "1";
				status="okay";
				cam_module5_drivernode0: drivernode0 {
					status="okay";
					pcl_id = "v4l2_sensor";
					devname = "imx219 35-0010";
					proc-device-tree = "/proc/device-tree/i2c@3180000/tca9548@70/i2c@5/rbpcv2_imx219_g@10";
				};
				cam_module5_drivernode1: drivernode1 {
					status="okay";
					pcl_id = "v4l2_lens";
					proc-device-tree = "/proc/device-tree/lens_imx219@RBPCV2/";
				};
			};
		};
	};
};



		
